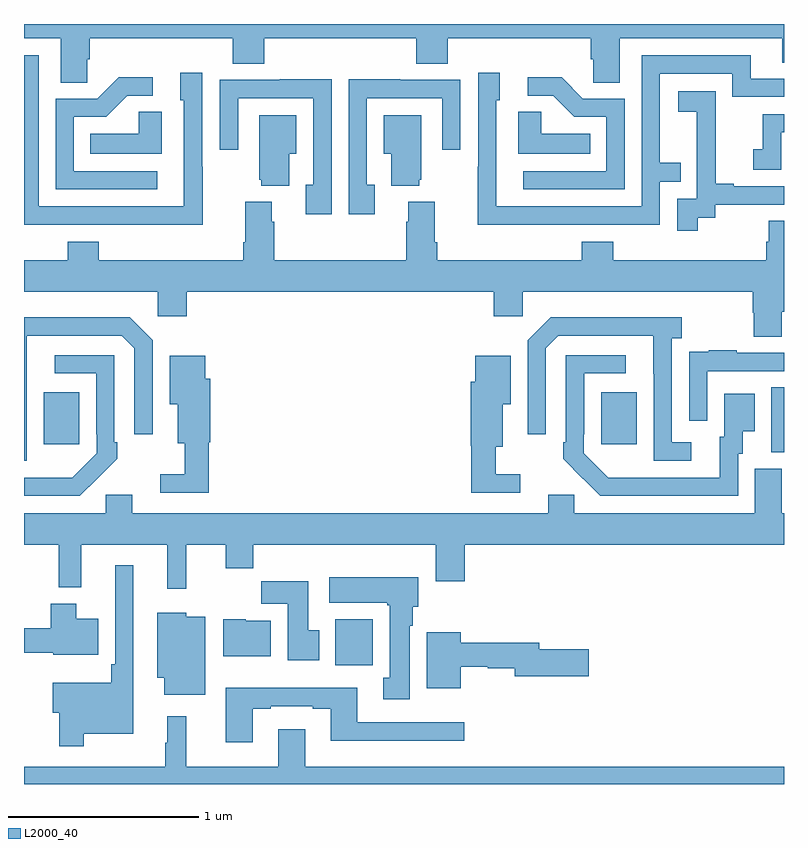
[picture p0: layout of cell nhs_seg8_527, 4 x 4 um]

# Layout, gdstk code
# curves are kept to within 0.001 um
import gdstk
lib = gdstk.Library(unit=1e-6, precision=1e-09)
def R(c, l, rs):  # rectangles x0, y0, x1, y1
    for r in rs: c.add(gdstk.rectangle(r[:2], r[2:], *l))
def P(c, l, *ps):  # polygons
    for p in ps: c.add(gdstk.Polygon(p, *l))
L2000_40 = (2000, 40)

nhs_seg8_527 = lib.new_cell('nhs_seg8_527')
R(nhs_seg8_527, L2000_40, [(146.639,1122.524,146.836,1122.766), (148.934,1123.645,149,1123.988), (145.103,1123.689,145.291,1123.963), (148.037,1123.689,148.225,1123.963)])
P(nhs_seg8_527, L2000_40, [(145.332,1125.715),(145.346,1125.715),(145.346,1125.824),(146.099,1125.824),(146.099,1125.691),(146.264,1125.691),(146.264,1125.824),(147.065,1125.824),(147.065,1125.691),(147.23,1125.691),(147.23,1125.824),(147.983,1125.824),(147.983,1125.715),(147.996,1125.715),(147.996,1125.592),(148.135,1125.592),(148.135,1125.824),(148.991,1125.824),(148.991,1125.697),(149,1125.697),(149,1125.9),(145,1125.9),(145,1125.824),(145.193,1125.824),(145.193,1125.592),(145.332,1125.592)],
  [(147.851,1124.844),(148.347,1124.844),(148.347,1125.069),(148.457,1125.069),(148.457,1125.17),(148.347,1125.17),(148.347,1125.639),(148.728,1125.639),(148.728,1125.516),(149,1125.516),(149,1125.612),(148.825,1125.612),(148.825,1125.735),(148.251,1125.735),(148.251,1124.94),(147.486,1124.94),(147.486,1125.498),(147.505,1125.498),(147.505,1125.643),(147.39,1125.643),(147.39,1125.149),(147.388,1125.149),(147.388,1124.843),(147.851,1124.843)],
  [(145.941,1125.149),(145.938,1125.149),(145.938,1125.643),(145.823,1125.643),(145.823,1125.498),(145.842,1125.498),(145.842,1124.94),(145.077,1124.94),(145.077,1125.735),(145,1125.735),(145,1124.844),(145.477,1124.844),(145.477,1124.843),(145.941,1124.843)],
  [(148.161,1125.507),(147.942,1125.507),(147.829,1125.62),(147.651,1125.62),(147.651,1125.522),(147.785,1125.522),(147.896,1125.411),(148.065,1125.411),(148.065,1125.126),(147.627,1125.126),(147.627,1125.03),(148.161,1125.03)],
  [(145.702,1125.126),(145.263,1125.126),(145.263,1125.411),(145.432,1125.411),(145.543,1125.522),(145.678,1125.522),(145.678,1125.62),(145.499,1125.62),(145.386,1125.507),(145.167,1125.507),(145.167,1125.03),(145.702,1125.03)],
  [(146.845,1125.054),(146.805,1125.054),(146.805,1125.51),(147.201,1125.51),(147.201,1125.237),(147.297,1125.237),(147.297,1125.606),(146.981,1125.606),(146.981,1125.608),(146.709,1125.608),(146.709,1124.898),(146.845,1124.898)],
  [(146.619,1125.608),(146.347,1125.608),(146.347,1125.606),(146.031,1125.606),(146.031,1125.237),(146.127,1125.237),(146.127,1125.51),(146.523,1125.51),(146.523,1125.054),(146.483,1125.054),(146.483,1124.898),(146.619,1124.898)],
  [(148.546,1124.881),(148.638,1124.881),(148.638,1124.949),(149,1124.949),(149,1125.045),(148.735,1125.045),(148.735,1125.058),(148.64,1125.058),(148.64,1125.341),(148.641,1125.341),(148.641,1125.547),(148.443,1125.547),(148.443,1125.437),(148.541,1125.437),(148.541,1125.209),(148.542,1125.209),(148.542,1124.979),(148.437,1124.979),(148.437,1124.811),(148.546,1124.811)],
  [(145.726,1125.437),(145.605,1125.437),(145.605,1125.322),(145.348,1125.322),(145.348,1125.218),(145.726,1125.218)],
  [(147.98,1125.322),(147.723,1125.322),(147.723,1125.437),(147.602,1125.437),(147.602,1125.218),(147.98,1125.218)],
  [(148.986,1125.33),(149,1125.33),(149,1125.426),(148.888,1125.426),(148.888,1125.241),(148.839,1125.241),(148.839,1125.132),(148.986,1125.132)],
  [(146.395,1125.218),(146.434,1125.218),(146.434,1125.421),(146.237,1125.421),(146.237,1125.081),(146.249,1125.081),(146.249,1125.05),(146.395,1125.05)],
  [(147.08,1125.081),(147.091,1125.081),(147.091,1125.421),(146.894,1125.421),(146.894,1125.218),(146.933,1125.218),(146.933,1125.05),(147.08,1125.05)],
  [(148.987,1124.386),(149,1124.386),(149,1124.864),(148.919,1124.864),(148.919,1124.754),(148.907,1124.754),(148.907,1124.656),(148.1,1124.656),(148.1,1124.755),(147.935,1124.755),(147.935,1124.656),(147.176,1124.656),(147.176,1124.752),(147.163,1124.752),(147.163,1124.965),(147.023,1124.965),(147.023,1124.858),(147.011,1124.858),(147.011,1124.656),(146.318,1124.656),(146.318,1124.858),(146.305,1124.858),(146.305,1124.965),(146.165,1124.965),(146.165,1124.752),(146.153,1124.752),(146.153,1124.656),(145.394,1124.656),(145.394,1124.755),(145.229,1124.755),(145.229,1124.656),(145,1124.656),(145,1124.492),(145.704,1124.492),(145.704,1124.361),(145.856,1124.361),(145.856,1124.492),(147.473,1124.492),(147.473,1124.361),(147.624,1124.361),(147.624,1124.492),(148.835,1124.492),(148.835,1124.379),(148.84,1124.379),(148.84,1124.254),(148.987,1124.254)],
  [(148.513,1123.698),(148.41,1123.698),(148.41,1124.246),(148.462,1124.246),(148.462,1124.356),(147.772,1124.356),(147.651,1124.235),(147.651,1123.74),(147.747,1123.74),(147.747,1124.193),(147.813,1124.259),(148.313,1124.259),(148.314,1123.602),(148.513,1123.602)],
  [(145.014,1124.059),(145.015,1124.059),(145.015,1124.259),(145.515,1124.259),(145.581,1124.193),(145.581,1123.74),(145.677,1123.74),(145.677,1124.235),(145.556,1124.356),(145,1124.356),(145,1123.602),(145.014,1123.602)],
  [(148.596,1124.073),(149,1124.073),(149,1124.169),(148.751,1124.169),(148.751,1124.182),(148.603,1124.182),(148.603,1124.175),(148.501,1124.175),(148.501,1124.066),(148.5,1124.066),(148.5,1123.812),(148.596,1123.812)],
  [(145.385,1123.507),(145.386,1123.506),(145.491,1123.611),(145.491,1123.699),(145.476,1123.699),(145.476,1124.157),(145.161,1124.157),(145.161,1124.061),(145.38,1124.061),(145.38,1123.741),(145.383,1123.741),(145.383,1123.641),(145.255,1123.513),(145,1123.512),(145,1123.416),(145.294,1123.416)],
  [(148.758,1123.638),(148.783,1123.638),(148.783,1123.757),(148.846,1123.757),(148.846,1123.954),(148.685,1123.954),(148.685,1123.728),(148.661,1123.728),(148.661,1123.512),(148.074,1123.513),(147.945,1123.641),(147.945,1123.741),(147.948,1123.741),(147.948,1124.061),(148.168,1124.061),(148.168,1124.157),(147.852,1124.157),(147.852,1123.699),(147.837,1123.699),(147.837,1123.611),(148.034,1123.416),(148.758,1123.416)],
  [(147.613,1123.531),(147.484,1123.531),(147.484,1123.676),(147.52,1123.676),(147.52,1123.898),(147.562,1123.898),(147.562,1124.155),(147.374,1124.155),(147.374,1124.016),(147.35,1124.016),(147.35,1123.68),(147.355,1123.68),(147.355,1123.434),(147.613,1123.434)],
  [(145.973,1123.698),(145.979,1123.698),(145.979,1124.034),(145.954,1124.034),(145.954,1124.155),(145.766,1124.155),(145.766,1123.898),(145.808,1123.898),(145.808,1123.694),(145.845,1123.694),(145.845,1123.531),(145.716,1123.531),(145.716,1123.434),(145.973,1123.434)],
  [(145.853,1123.16),(146.063,1123.16),(146.063,1123.036),(146.207,1123.036),(146.207,1123.16),(147.167,1123.16),(147.167,1122.966),(147.32,1122.966),(147.32,1123.16),(149,1123.16),(149,1123.324),(148.987,1123.324),(148.987,1123.56),(148.847,1123.56),(148.847,1123.324),(147.897,1123.324),(147.897,1123.422),(147.758,1123.422),(147.758,1123.324),(145.57,1123.324),(145.57,1123.422),(145.431,1123.422),(145.431,1123.324),(145,1123.324),(145,1123.16),(145.183,1123.16),(145.183,1122.935),(145.301,1122.935),(145.301,1123.16),(145.754,1123.16),(145.754,1122.927),(145.853,1122.927)],
  [(145.315,1122.164),(145.576,1122.164),(145.576,1122.429),(145.575,1122.429),(145.575,1123.051),(145.479,1123.051),(145.479,1122.529),(145.459,1122.529),(145.459,1122.433),(145.152,1122.433),(145.152,1122.275),(145.186,1122.275),(145.186,1122.099),(145.315,1122.099)],
  [(147.031,1122.734),(147.046,1122.734),(147.046,1122.834),(147.076,1122.834),(147.076,1122.988),(146.607,1122.988),(146.607,1122.854),(146.911,1122.854),(146.911,1122.841),(146.924,1122.841),(146.924,1122.458),(146.891,1122.458),(146.891,1122.345),(147.031,1122.345)],
  [(146.554,1122.708),(146.497,1122.708),(146.497,1122.967),(146.248,1122.967),(146.248,1122.848),(146.387,1122.848),(146.387,1122.552),(146.554,1122.552)],
  [(145.39,1122.769),(145.276,1122.769),(145.276,1122.85),(145.142,1122.85),(145.142,1122.721),(145,1122.721),(145,1122.592),(145.154,1122.592),(145.154,1122.581),(145.39,1122.581)],
  [(145.954,1122.781),(145.854,1122.781),(145.854,1122.802),(145.7,1122.802),(145.7,1122.458),(145.739,1122.458),(145.739,1122.371),(145.954,1122.371)],
  [(146.299,1122.76),(146.166,1122.76),(146.166,1122.766),(146.048,1122.766),(146.048,1122.572),(146.299,1122.572)],
  [(147.298,1122.516),(147.441,1122.516),(147.441,1122.508),(147.584,1122.508),(147.584,1122.466),(147.973,1122.466),(147.973,1122.608),(147.712,1122.608),(147.712,1122.644),(147.298,1122.644),(147.298,1122.7),(147.119,1122.7),(147.119,1122.404),(147.298,1122.404)],
  [(146.203,1122.297),(146.299,1122.297),(146.299,1122.309),(146.519,1122.309),(146.519,1122.297),(146.615,1122.297),(146.615,1122.128),(147.316,1122.128),(147.316,1122.225),(146.755,1122.225),(146.755,1122.406),(146.063,1122.406),(146.063,1122.12),(146.203,1122.12)],
  [(149,1121.992),(146.479,1121.992),(146.479,1122.187),(146.339,1122.187),(146.339,1121.992),(145.853,1121.992),(145.853,1122.256),(145.754,1122.256),(145.754,1122.116),(145.743,1122.116),(145.743,1121.992),(145,1121.992),(145,1121.9),(149,1121.9)])

lib.write_gds('nhs_seg8_527.gds')
